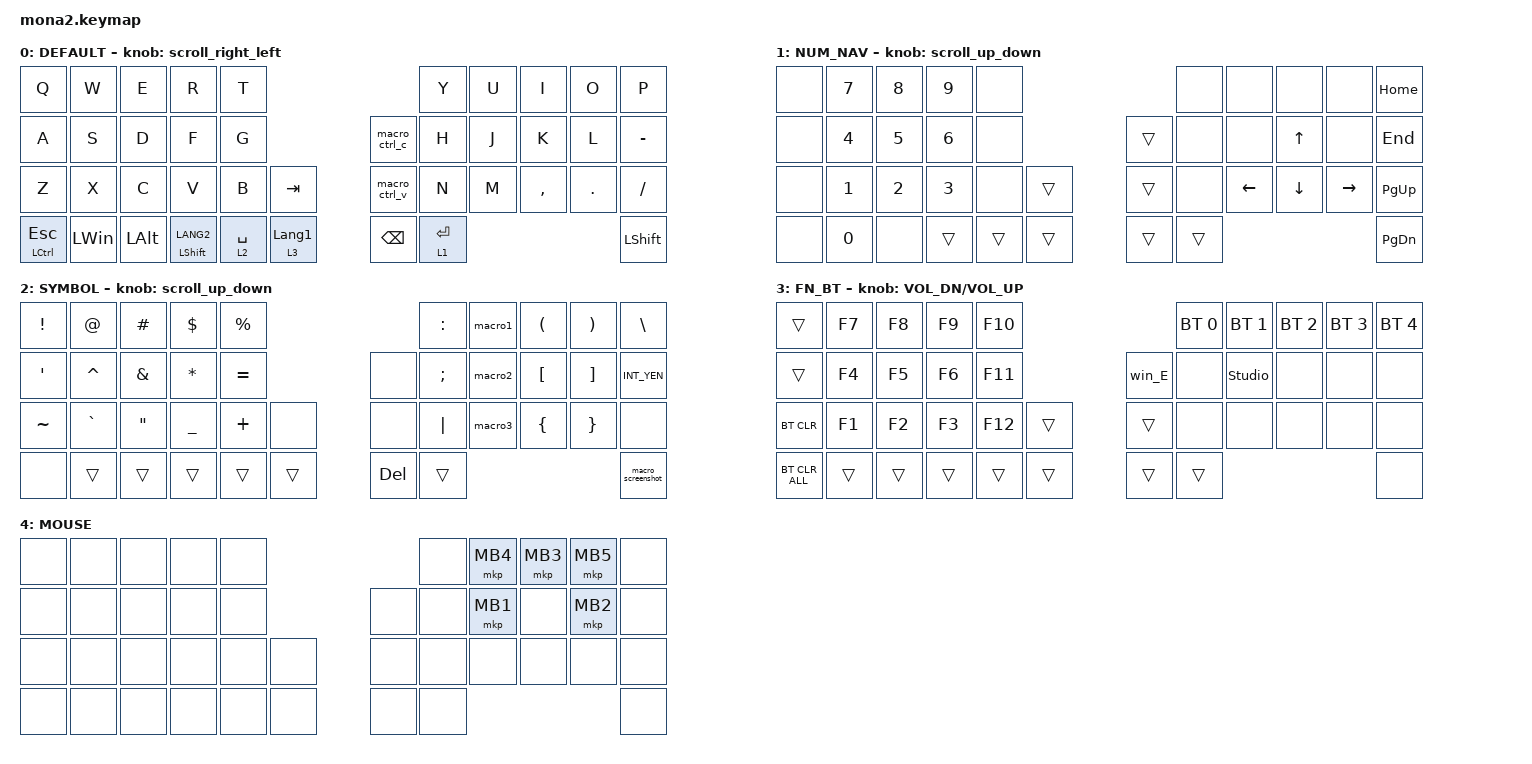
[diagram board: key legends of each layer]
#include <input/processors.dtsi>
#include <dt-bindings/zmk/input_transform.h>
#include <zephyr/dt-bindings/input/input-event-codes.h>
#include <behaviors/runtime-sensor-rotate.dtsi>
#include <behaviors.dtsi>
/* DYA Studio から作成したマクロを呼び出す `&rmacro <slot>` を定義する。
   slot は 0 〜 CONFIG_ZMK_RUNTIME_MACRO_COUNT-1 (現状 0〜7)。
   どのマクロがどのスロットに入っているかは DYA Studio のマクロ一覧で確認する。
   キーへの割り当ては DYA Studio のキーマップエディタからも行える。 */
#include <behaviors/runtime_macro.dtsi>
/* デフォルトレイヤー変更 behavior `&df`。
   DYA Studio の「OSごとのデフォルトレイヤー」から設定できるほか、
   キーマップエディタで `&df DF_SEL <layer>` / `&df DF_INC` を
   任意のキーに割り当てられる。 */
#include <behaviors/default_layer.dtsi>
#include <dt-bindings/zmk_behavior_default_layer/default_layer.h>
#include <dt-bindings/zmk/bt.h>
#include <dt-bindings/zmk/keys.h>
#include <dt-bindings/zmk/outputs.h>
#include <dt-bindings/zmk/pointing.h>

/* ZMK 側で 10 が定義済みなので警告回避のため一旦 undef */

#undef ZMK_POINTING_DEFAULT_SCRL_VAL

#define ZMK_POINTING_DEFAULT_SCRL_VAL 100


/ {
    behaviors {
        mg_set_0: behavior_mg_set_0 {
            compatible = "zmk,behavior-mg-set-fixed";
            #binding-cells = <0>;
            display-name = "Mouse Gesture Key 0";
        };

        mg_set_1: behavior_mg_set_1 {
            compatible = "zmk,behavior-mg-set-fixed";
            #binding-cells = <0>;
            display-name = "Mouse Gesture Key 1";
        };

        mg_set_2: behavior_mg_set_2 {
            compatible = "zmk,behavior-mg-set-fixed";
            #binding-cells = <0>;
            display-name = "Mouse Gesture Key 2";
        };
    };
};

&mt {
    flavor = "balanced";
    quick-tap-ms = <0>;
};

&lt {
    quick-tap-ms = <300>;
    flavor = "balanced";
};

&msc {
    delay-ms = <0>;
    time-to-max-speed-ms = <0>;
    acceleration-exponent = <0>;
};

/* マウスクリック時にタイムアウトを更新し、クリック後250msでAMLを解除 */
&mkp_input_listener {
    input-processors = <&zip_temp_layer 4 250>;
};

/ {
    /* 静的マクロ。キーマップ上で &BT0 / &screenshot などの名前で直接
       参照しているため、そのまま残している (DYA Studio 上では編集不可)。
       DYA Studio から編集したいマクロは Web UI で新規作成し、
       キーに `&rmacro <slot>` を割り当てて使う。 */
    macros {
        to_layer_0: to_layer_0 {
            compatible = "zmk,behavior-macro-one-param";
            #binding-cells = <1>;
            bindings = <&to 0 &macro_param_1to1 &kp MACRO_PLACEHOLDER>;
            label = "TO_LAYER_0";
        };

        macro1: macro1 {
            compatible = "zmk,behavior-macro";
            #binding-cells = <0>;
            bindings = <&kp LEFT_PARENTHESIS &kp RIGHT_PARENTHESIS &kp LEFT_ARROW>;
            label = "MACRO1";
        };

        macro2: macro2 {
            compatible = "zmk,behavior-macro";
            #binding-cells = <0>;
            bindings = <&kp LEFT_BRACKET &kp RIGHT_BRACKET &kp LEFT_ARROW>;
            label = "MACRO2";
        };

        macro3: macro3 {
            compatible = "zmk,behavior-macro";
            #binding-cells = <0>;
            bindings = <&kp LEFT_BRACE &kp RIGHT_BRACE &kp LEFT_ARROW>;
            label = "MACRO3";
        };

        macro_ctrl_c: macro_ctrl_c {
            compatible = "zmk,behavior-macro";
            #binding-cells = <0>;
            bindings = <&kp LC(C)>;
            label = "MACRO_CTRL_C";
        };

        macro_ctrl_v: macro_ctrl_v {
            compatible = "zmk,behavior-macro";
            #binding-cells = <0>;
            bindings = <&kp LC(V)>;
            label = "MACRO_CTRL_V";
        };

        macro_screenshot: macro_screenshot {
            compatible = "zmk,behavior-macro";
            #binding-cells = <0>;
            bindings = <&kp LS(LG(S))>;
            label = "MACRO_SCREENSHOT";
        };

        BT0: BT0 {
            compatible = "zmk,behavior-macro";
            #binding-cells = <0>;
            bindings =
                <&tog_off 0 &tog_off 1>,
                <&macro_wait_time 200>,
                <&bt BT_SEL 0>,
                <&macro_wait_time 500>,
                <&tog_on 0>;

            label = "BT0";
        };

        BT1: BT1 {
            compatible = "zmk,behavior-macro";
            #binding-cells = <0>;
            bindings =
                <&tog_off 0 &tog_off 1>,
                <&macro_wait_time 200>,
                <&bt BT_SEL 1>,
                <&macro_wait_time 500>,
                <&tog_on 1>;

            label = "BT1";
        };

        screenshot: screenshot {
            compatible = "zmk,behavior-macro";
            #binding-cells = <0>;
            bindings =
                <&macro_press>,
                <&kp LEFT_GUI &kp RSHIFT>,
                <&macro_wait_time 20>,
                <&macro_tap>,
                <&kp S>,
                <&macro_release>,
                <&kp LEFT_GUI &kp RSHIFT>;

            label = "SCREENSHOT";
        };

        henkan: henkan {
            compatible = "zmk,behavior-macro";
            #binding-cells = <0>;
            bindings =
                <&macro_press>,
                <&kp LEFT_ALT>,
                <&macro_wait_time 20>,
                <&macro_tap>,
                <&kp GRAVE>,
                <&macro_release>,
                <&kp LEFT_ALT>;

            label = "HENKAN";
        };

        win_E: win_E {
            compatible = "zmk,behavior-macro";
            #binding-cells = <0>;
            bindings =
                <&macro_press>,
                <&kp LEFT_WIN>,
                <&macro_tap>,
                <&kp E>,
                <&macro_release>,
                <&kp LEFT_WIN>;

            label = "WIN_E";
        };
    };

    behaviors {
        lt_to_layer_0: lt_to_layer_0 {
            compatible = "zmk,behavior-hold-tap";
            label = "LAYER_TAP_TO_0";
            bindings = <&mo>, <&to_layer_0>;

            #binding-cells = <2>;
            tapping-term-ms = <200>;
        };

        scroll_up_down: mouse_wheel_up_down {
            compatible = "zmk,behavior-sensor-rotate";
            #sensor-binding-cells = <0>;
            bindings = <&msc SCRL_DOWN>, <&msc SCRL_UP>;

            tap-ms = <20>;
        };

        scroll_right_left: mouse_wheel_right_left {
            compatible = "zmk,behavior-sensor-rotate";
            #sensor-binding-cells = <0>;
            bindings = <&msc SCRL_LEFT>, <&msc SCRL_RIGHT>;

            tap-ms = <20>;
        };

        // エンコーダ用 runtime-configurable sensor rotate
        // デフォルトはスクロール (cw=SCRL_DOWN, ccw=SCRL_UP)
        // DYA Studio Web UI から レイヤーごとに cw/ccw の binding を
        // kp C_VOL_UP/DN や kp LEFT/RIGHT などへ動的変更可能

        rsr_default: rsr_default {
            compatible = "zmk,behavior-runtime-sensor-rotate";
            #sensor-binding-cells = <0>;
            tap-ms = <16>;
            cw-binding = <&msc SCRL_DOWN>;
            ccw-binding = <&msc SCRL_UP>;
        };

        tog_on: toggle_layer_on_only {
            compatible = "zmk,behavior-toggle-layer";
            #binding-cells = <1>;
            display-name = "Toggle Layer On";
            toggle-mode = "on";
        };

        tog_off: toggle_layer_off_only {
            compatible = "zmk,behavior-toggle-layer";
            #binding-cells = <1>;
            display-name = "Toggle Layer Off";
            toggle-mode = "off";
        };
    };

    keymap {
        compatible = "zmk,keymap";

        default_layer {
            display-name = "DEFAULT";
            bindings = <
&kp Q          &kp W         &kp E         &kp R                 &kp T                                                      &kp Y        &kp U  &kp I      &kp O    &kp P
&kp A          &kp S         &kp D         &kp F                 &kp G                                       &macro_ctrl_c  &kp H        &kp J  &kp K      &kp L    &kp MINUS
&kp Z          &kp X         &kp C         &kp V                 &kp B        &kp TAB                        &macro_ctrl_v  &kp N        &kp M  &kp COMMA  &kp DOT  &kp SLASH
&mt LCTRL ESC  &kp LEFT_WIN  &kp LEFT_ALT  &mt LEFT_SHIFT LANG2  &lt 2 SPACE  &lt_to_layer_0 3 LANGUAGE_1    &kp BACKSPACE  &lt 1 ENTER                             &kp LEFT_SHIFT
            >;

            sensor-bindings = <&scroll_right_left>;
        };

        layer_1 {
            display-name = "NUM_NAV";
            bindings = <
&none  &kp NUMBER_7  &kp NUMBER_8  &kp NUMBER_9  &none                     &none   &none           &none     &none            &kp HOME
&none  &kp NUMBER_4  &kp N5        &kp NUMBER_6  &none             &trans  &none   &none           &kp UP    &none            &kp END
&none  &kp NUMBER_1  &kp NUMBER_2  &kp NUMBER_3  &none   &trans    &trans  &none   &kp LEFT_ARROW  &kp DOWN  &kp RIGHT_ARROW  &kp PAGE_UP
&none  &kp NUMBER_0  &none         &trans        &trans  &trans    &trans  &trans                                             &kp PAGE_DOWN
            >;

            sensor-bindings = <&scroll_up_down>;
        };

        layer_2 {
            display-name = "SYMBOL";
            bindings = <
&kp EXCLAMATION   &kp AT_SIGN  &kp POUND          &kp DOLLAR  &kp PERCENT                     &kp COLON  &macro1  &kp LEFT_PARENTHESIS  &kp RPAR           &kp BACKSLASH
&kp SINGLE_QUOTE  &kp CARET    &kp AMPERSAND      &kp ASTRK   &kp EQUAL              &none    &kp SEMI   &macro2  &kp LEFT_BRACKET      &kp RIGHT_BRACKET  &kp INT_YEN
&kp TILDE         &kp GRAVE    &kp DOUBLE_QUOTES  &kp UNDER   &kp PLUS     &none     &none    &kp PIPE   &macro3  &kp LEFT_BRACE        &kp RIGHT_BRACE    &none
&none             &trans       &trans             &trans      &trans       &trans    &kp DEL  &trans                                                       &macro_screenshot
            >;

            sensor-bindings = <&scroll_up_down>;
        };

        layer_3 {
            display-name = "FN_BT";
            bindings = <
&trans          &kp F7  &kp F8  &kp F9  &kp F10                    &bt BT_SEL 0  &bt BT_SEL 1    &bt BT_SEL 2  &bt BT_SEL 3  &bt BT_SEL 4
&trans          &kp F4  &kp F5  &kp F6  &kp F11            &win_E  &none         &studio_unlock  &none         &none         &none
&bt BT_CLR      &kp F1  &kp F2  &kp F3  &kp F12  &trans    &trans  &none         &none           &none         &none         &none
&bt BT_CLR_ALL  &trans  &trans  &trans  &trans   &trans    &trans  &trans                                                    &none
            >;

            sensor-bindings = <&inc_dec_kp C_VOL_DN C_VOL_UP>;
        };

        layer_4 {
            display-name = "MOUSE";
            bindings = <
&none  &none  &none  &none  &none                  &none  &mkp MB4  &mkp MB3  &mkp MB5  &none
&none  &none  &none  &none  &none           &none  &none  &mkp MB1  &none     &mkp MB2  &none
&none  &none  &none  &none  &none  &none    &none  &none  &none     &none     &none     &none
&none  &none  &none  &none  &none  &none    &none  &none                                &none
            >;
        };
    };
};
